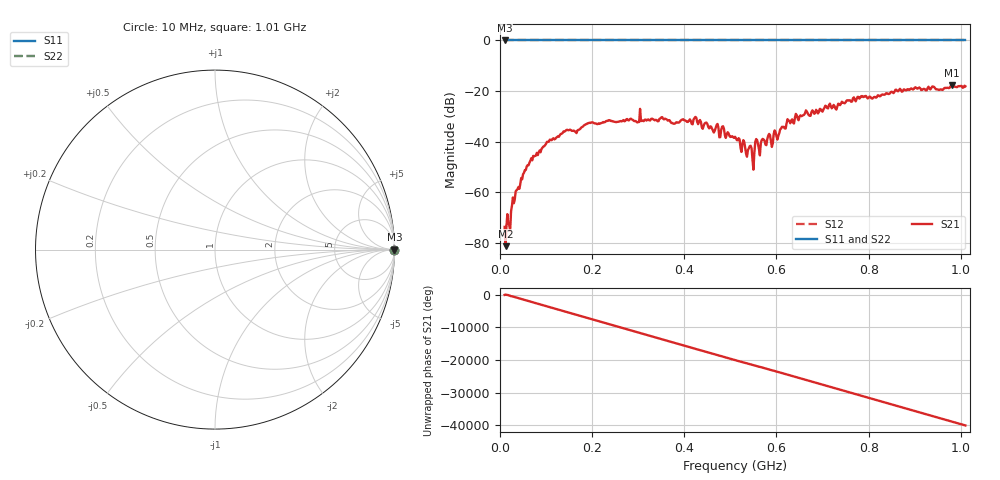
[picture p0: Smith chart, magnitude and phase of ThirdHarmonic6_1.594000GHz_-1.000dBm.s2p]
! 8/16/2025 6:59:49 PM
! C:\ANRITSUVNA\TEMP\TEMP.S2P
! CHANNEL.1
! TR.MEASUREMENT
! RAW.DATA
! RF.CORRECTION.OFF
! AVERAGING.OFF
! IF.BANDWIDTH: 5KHZ
! SWEEPTYPE:  FREQ.SWEEP(Linear)
! Reference Plane Port Info
! PORT:  PORT1  PORT2
! DISTANCE:  0  m  0  m
! TIME:  0  s  0  s
! PHASE.OFFSET:  0  deg.  0  deg.
! LOSS:  0  dB  0  dB
! REF.LOSS:  0  dB  0  dB
! REF.FREQ:  0  Hz  0  Hz
! Power Info
! POWER:  -20  dBm  -20  dBm
! EFF.POWER:  -20  dBm  -20  dBm
! SOURCE.ATTEN:  0  dB  0  dB
! TEST.ATTEN:  0  dB  0  dB
# GHZ S RI R 50.0
! FREQ.GHZ  S11RE  S11IM  S21RE  S21IM  S12RE  S12IM  S22RE  S22IM
!; PortSelection: Port_12
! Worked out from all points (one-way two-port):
!   501 points, 10 MHz to 1.01 GHz, reference 50 ohm
!   highest |S21| = -17.63 dB at 980 MHz (marker M1); lowest = -81.4 dB at 12 MHz (marker M2)
!   lowest |S11| = 0.0 dB at 10 MHz (marker M3)
!   |S11| at or under -10 dB: nowhere
!   |S22| runs from 0.0 to 0.0 dB; largest |S21 - S12| = 1.1
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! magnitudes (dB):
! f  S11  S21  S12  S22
! 10 MHz  0.0  -73.8  0.0  0.0
! 12 MHz  0.0  -81.4  0.0  0.0
! 22 MHz  0.0  -75.4  0.0  0.0
! 36 MHz  0.0  -59.3  0.0  0.0
! 70 MHz  0.0  -47.4  0.0  0.0
! 106 MHz  0.0  -40.1  0.0  0.0
! 178 MHz  0.0  -34.2  0.0  0.0
! 344 MHz  0.0  -31.9  0.0  0.0
! 424 MHz  0.0  -30.2  0.0  0.0
! 510 MHz  0.0  -38.1  0.0  0.0
! 536 MHz  0.0  -46.0  0.0  0.0
! 542 MHz  0.0  -41.8  0.0  0.0
! 548 MHz  0.0  -47.2  0.0  0.0
! 558 MHz  0.0  -39.4  0.0  0.0
! 564 MHz  0.0  -45.5  0.0  0.0
! 570 MHz  0.0  -38.9  0.0  0.0
! 590 MHz  0.0  -42.1  0.0  0.0
! 626 MHz  0.0  -31.6  0.0  0.0
! 678 MHz  0.0  -27.7  0.0  0.0
! 844 MHz  0.0  -21.2  0.0  0.0
! 980 MHz  0.0  -17.6  0.0  0.0
! 1.01 GHz  0.0  -18.1  0.0  0.0
